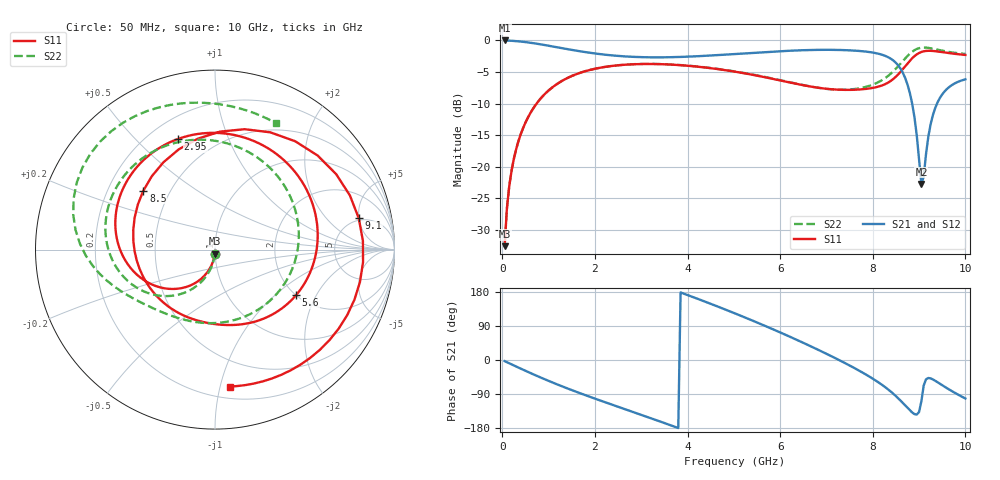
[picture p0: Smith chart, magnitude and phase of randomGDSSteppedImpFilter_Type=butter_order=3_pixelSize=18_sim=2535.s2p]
! freq	dB(S11)	phase(S11)	dB(S12)	phase(S12)
!  dB(S21)	phase(S21)	dB(S22)	phase(S22)
!S-par simulation data
#  GHz  S  DB  R 50
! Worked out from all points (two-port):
!   200 points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, 50 MHz to 10 GHz, reference 50 ohm
!   highest |S21| = -0.01 dB at 50 MHz (marker M1); lowest = -22.7 dB at 9.05 GHz (marker M2)
!   |S21| within 3 dB of the highest: start of sweep to 8.411 GHz
!   lowest |S11| = -32.6 dB at 50 MHz (marker M3), VSWR 1.05, Z = 49.8 - j2.35 ohm
!   |S11| at or under -10 dB: start of sweep to 740.3 MHz
!   |S22| runs from -32.6 to -1.1 dB; largest |S21 - S12| = 0
!   S11 on the Smith chart (normalised r, x): 50 MHz: 1.00, -0.05; 2.95 GHz: 0.31, +0.67; 5.6 GHz: 2.00, -1.39; 8.5 GHz: 0.35, +0.32; 9.1 GHz: 4.66, +4.98; 10 GHz: 0.29, -1.07
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0.05  -32.55 -93.2  -0.01 -2.9  -0.01 -2.9  -32.55 -92.7
0.2  -20.61 -103.1  -0.06 -11.6  -0.06 -11.6  -20.61 -101.0
0.5  -13.01 -121.7  -0.26 -28.5  -0.26 -28.5  -13.00 -116.4
1.1  -7.32 -156.7  -0.97 -60.2  -0.97 -60.2  -7.32 -144.8
1.75  -4.96 168.7  -1.80 -90.9  -1.80 -90.9  -4.96 -171.6
2.95  -3.74 108.6  -2.63 -142.6  -2.63 -142.6  -3.73 145.3
3.4  -3.75 85.7  -2.68 -161.9  -2.68 -161.9  -3.74 129.7
4.25  -4.18 41.0  -2.49 160.0  -2.49 160.0  -4.15 99.0
5.05  -4.98 -1.5  -2.14 121.7  -2.14 121.7  -4.94 66.3
5.6  -5.72 -29.5  -1.88 93.9  -1.88 93.9  -5.67 39.8
6.15  -6.56 -55.2  -1.65 64.7  -1.65 64.7  -6.52 8.6
6.7  -7.35 -78.5  -1.51 33.9  -1.51 33.9  -7.35 -28.5
7.55  -7.82 -117.0  -1.59 -17.7  -1.59 -17.7  -7.73 -93.4
8  -7.52 -150.1  -1.92 -49.3  -1.92 -49.3  -6.99 -126.1
8.35  -6.59 166.6  -2.72 -79.4  -2.72 -79.4  -5.50 -149.3
8.5  -5.73 140.5  -3.55 -95.3  -3.55 -95.3  -4.47 -159.9
8.8  -3.21 76.2  -8.30 -132.7  -8.30 -132.7  -2.10 171.9
9.05  -1.83 21.8  -22.71 -108.5  -22.71 -108.5  -1.15 142.4
9.1  -1.73 12.3  -21.54 -67.3  -21.54 -67.3  -1.13 136.7
9.25  -1.64 -12.6  -13.23 -48.5  -13.23 -48.5  -1.24 121.0
9.4  -1.75 -32.6  -9.79 -58.7  -9.79 -58.7  -1.47 107.4
10  -2.30 -83.9  -6.15 -101.6  -6.15 -101.6  -2.14 64.3
